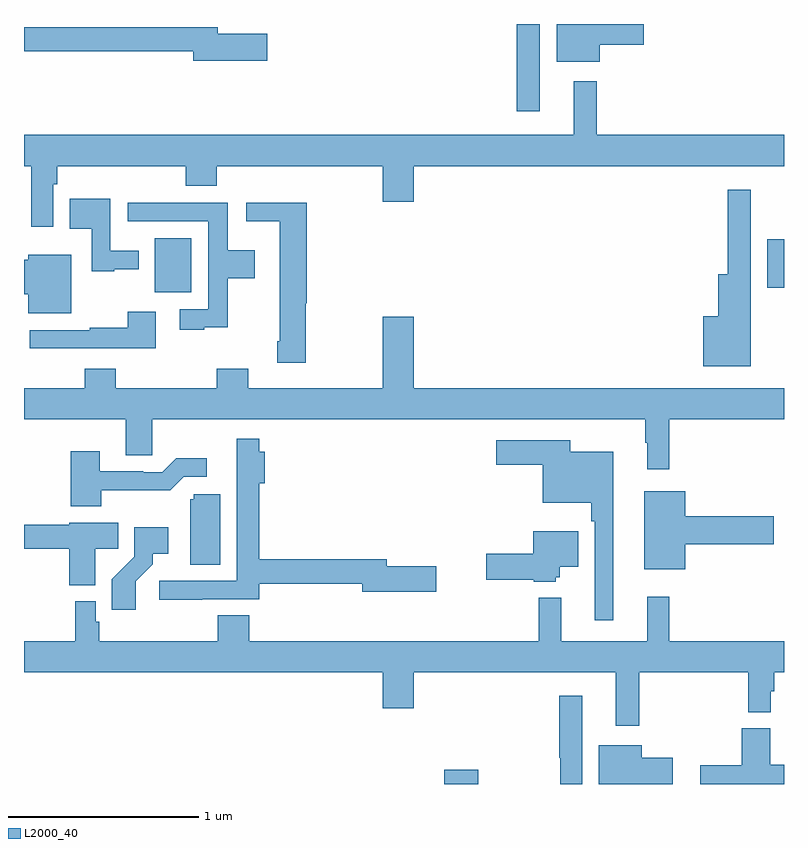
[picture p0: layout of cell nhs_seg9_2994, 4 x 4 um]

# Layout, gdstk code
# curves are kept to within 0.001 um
import gdstk
lib = gdstk.Library(unit=1e-6, precision=1e-09)
def R(c, l, rs):  # rectangles x0, y0, x1, y1
    for r in rs: c.add(gdstk.rectangle(r[:2], r[2:], *l))
def P(c, l, *ps):  # polygons
    for p in ps: c.add(gdstk.Polygon(p, *l))
L2000_40 = (2000, 40)

nhs_seg9_2994 = lib.new_cell('nhs_seg9_2994')
R(nhs_seg9_2994, L2000_40, [(285.212,1194.5,285.39,1194.574), (283.688,1197.089,283.879,1197.373), (286.913,1197.113,287,1197.367), (285.594,1198.041,285.715,1198.5)])
P(nhs_seg9_2994, L2000_40, [(286.03,1198.39),(286.261,1198.39),(286.261,1198.5),(285.803,1198.5),(285.803,1198.301),(286.03,1198.301)],
  [(284.281,1198.448),(284.02,1198.448),(284.02,1198.484),(283,1198.484),(283,1198.356),(283.892,1198.356),(283.892,1198.306),(284.281,1198.306)],
  [(283.155,1197.656),(283.175,1197.656),(283.175,1197.752),(283.85,1197.752),(283.85,1197.65),(284.015,1197.65),(284.015,1197.752),(284.888,1197.752),(284.888,1197.564),(285.052,1197.564),(285.052,1197.752),(287,1197.752),(287,1197.916),(286.015,1197.916),(286.015,1198.198),(285.893,1198.198),(285.893,1197.916),(283,1197.916),(283,1197.752),(283.039,1197.752),(283.039,1197.432),(283.155,1197.432)],
  [(286.825,1197.628),(286.704,1197.628),(286.704,1197.184),(286.655,1197.184),(286.655,1196.962),(286.574,1196.962),(286.574,1196.699),(286.825,1196.699)],
  [(283.476,1197.208),(283.603,1197.208),(283.603,1197.307),(283.455,1197.307),(283.455,1197.58),(283.24,1197.58),(283.24,1197.422),(283.356,1197.422),(283.356,1197.198),(283.476,1197.198)],
  [(284.484,1197.03),(284.489,1197.03),(284.489,1197.56),(284.169,1197.56),(284.169,1197.461),(284.345,1197.461),(284.345,1196.83),(284.333,1196.83),(284.333,1196.718),(284.484,1196.718)],
  [(283.949,1196.903),(284.072,1196.903),(284.072,1197.163),(284.215,1197.163),(284.215,1197.31),(284.072,1197.31),(284.072,1197.558),(283.766,1197.558),(283.766,1197.56),(283.545,1197.56),(283.545,1197.462),(283.971,1197.462),(283.971,1197),(283.821,1197),(283.821,1196.892),(283.949,1196.892)],
  [(283.249,1197.286),(283.022,1197.286),(283.022,1197.26),(283,1197.26),(283,1197.077),(283.022,1197.077),(283.022,1196.978),(283.249,1196.978)],
  [(283.693,1196.986),(283.546,1196.986),(283.546,1196.902),(283.345,1196.902),(283.345,1196.889),(283.029,1196.889),(283.029,1196.793),(283.693,1196.793)],
  [(286.397,1196.42),(287,1196.42),(287,1196.584),(285.052,1196.584),(285.052,1196.959),(284.888,1196.959),(284.888,1196.584),(284.18,1196.584),(284.18,1196.686),(284.015,1196.686),(284.015,1196.584),(283.484,1196.584),(283.484,1196.686),(283.319,1196.686),(283.319,1196.584),(283,1196.584),(283,1196.42),(283.535,1196.42),(283.535,1196.23),(283.674,1196.23),(283.674,1196.42),(286.269,1196.42),(286.269,1196.297),(286.28,1196.297),(286.28,1196.157),(286.397,1196.157)],
  [(283.937,1195.473),(284.237,1195.473),(284.237,1195.554),(284.78,1195.554),(284.78,1195.511),(285.169,1195.511),(285.169,1195.646),(284.908,1195.646),(284.908,1195.682),(284.237,1195.682),(284.237,1196.083),(284.267,1196.083),(284.267,1196.248),(284.237,1196.248),(284.237,1196.317),(284.12,1196.317),(284.12,1196.094),(284.121,1196.094),(284.121,1195.569),(283.713,1195.569),(283.713,1195.471),(283.937,1195.471)],
  [(286.102,1196.248),(285.874,1196.248),(285.874,1196.308),(285.486,1196.308),(285.486,1196.179),(285.731,1196.179),(285.731,1195.979),(285.985,1195.979),(285.985,1195.883),(286.005,1195.883),(286.005,1195.362),(286.102,1195.362)],
  [(283.407,1196.046),(283.769,1196.045),(283.842,1196.118),(283.963,1196.118),(283.963,1196.215),(283.801,1196.215),(283.728,1196.142),(283.628,1196.142),(283.628,1196.145),(283.399,1196.145),(283.399,1196.251),(283.247,1196.251),(283.247,1195.961),(283.407,1195.961)],
  [(286.48,1195.763),(286.945,1195.763),(286.945,1195.91),(286.48,1195.91),(286.48,1196.041),(286.265,1196.041),(286.265,1195.631),(286.48,1195.631)],
  [(284.032,1196.025),(283.893,1196.025),(283.893,1195.998),(283.874,1195.998),(283.874,1195.654),(284.032,1195.654)],
  [(283.375,1195.738),(283.496,1195.738),(283.496,1195.876),(283.238,1195.876),(283.238,1195.865),(283,1195.865),(283,1195.737),(283.238,1195.737),(283.238,1195.547),(283.375,1195.547)],
  [(283.588,1195.567),(283.678,1195.657),(283.678,1195.712),(283.759,1195.712),(283.759,1195.852),(283.581,1195.852),(283.581,1195.697),(283.462,1195.578),(283.462,1195.416),(283.588,1195.416)],
  [(285.798,1195.587),(285.82,1195.587),(285.82,1195.643),(285.916,1195.643),(285.916,1195.831),(285.68,1195.831),(285.68,1195.713),(285.432,1195.713),(285.432,1195.576),(285.684,1195.576),(285.684,1195.565),(285.798,1195.565)],
  [(286.237,1195.088),(286.813,1195.088),(286.813,1194.878),(286.929,1194.878),(286.929,1194.987),(286.949,1194.987),(286.949,1195.088),(287,1195.088),(287,1195.252),(286.397,1195.252),(286.397,1195.486),(286.28,1195.486),(286.28,1195.252),(285.827,1195.252),(285.827,1195.48),(285.709,1195.48),(285.709,1195.252),(284.186,1195.252),(284.186,1195.388),(284.021,1195.388),(284.021,1195.252),(283.397,1195.252),(283.397,1195.353),(283.377,1195.353),(283.377,1195.462),(283.269,1195.462),(283.269,1195.252),(283,1195.252),(283,1195.088),(284.888,1195.088),(284.888,1194.9),(285.052,1194.9),(285.052,1195.088),(286.115,1195.088),(286.115,1194.807),(286.237,1194.807)],
  [(285.937,1194.964),(285.816,1194.964),(285.816,1194.639),(285.823,1194.639),(285.823,1194.5),(285.937,1194.5)],
  [(287,1194.602),(286.927,1194.602),(286.927,1194.793),(286.778,1194.793),(286.778,1194.599),(286.56,1194.599),(286.56,1194.5),(287,1194.5)],
  [(286.414,1194.639),(286.252,1194.639),(286.252,1194.703),(286.025,1194.703),(286.025,1194.5),(286.414,1194.5)])

lib.write_gds('nhs_seg9_2994.gds')
